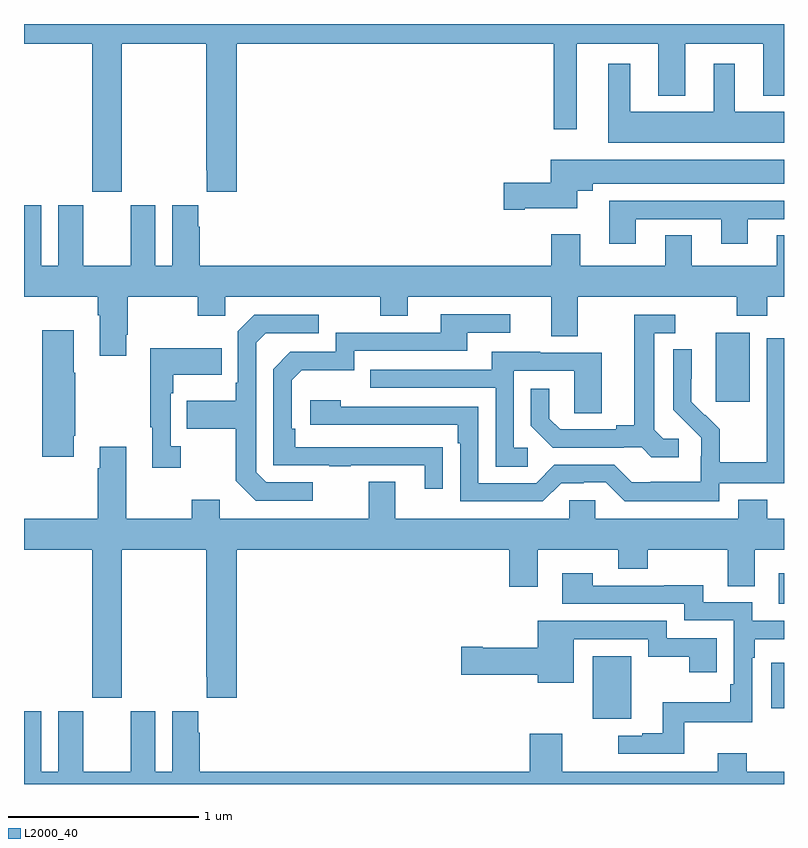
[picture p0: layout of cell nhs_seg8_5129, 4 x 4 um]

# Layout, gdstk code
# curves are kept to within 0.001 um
import gdstk
lib = gdstk.Library(unit=1e-6, precision=1e-09)
def R(c, l, rs):  # rectangles x0, y0, x1, y1
    for r in rs: c.add(gdstk.rectangle(r[:2], r[2:], *l))
def P(c, l, *ps):  # polygons
    for p in ps: c.add(gdstk.Polygon(p, *l))
L2000_40 = (2000, 40)

nhs_seg8_5129 = lib.new_cell('nhs_seg8_5129')
R(nhs_seg8_5129, L2000_40, [(421.994,1150.244,422.197,1150.573), (422.933,1150.299,423,1150.537), (422.973,1150.848,423,1151.008), (422.642,1151.913,422.821,1152.274)])
P(nhs_seg8_5129, L2000_40, [(419.514,1153.796),(419.959,1153.796),(419.959,1153.129),(419.963,1153.129),(419.963,1153.017),(420.119,1153.017),(420.119,1153.796),(421.788,1153.796),(421.788,1153.347),(421.909,1153.347),(421.909,1153.796),(422.339,1153.796),(422.339,1153.523),(422.479,1153.523),(422.479,1153.796),(422.891,1153.796),(422.891,1153.523),(423,1153.523),(423,1153.9),(419,1153.9),(419,1153.796),(419.359,1153.796),(419.359,1153.017),(419.514,1153.017)],
  [(423,1153.438),(422.74,1153.438),(422.74,1153.69),(422.63,1153.69),(422.63,1153.438),(422.191,1153.438),(422.191,1153.69),(422.075,1153.69),(422.075,1153.274),(423,1153.274)],
  [(421.636,1152.929),(421.912,1152.929),(421.912,1153.022),(421.993,1153.022),(421.993,1153.058),(423,1153.058),(423,1153.186),(421.772,1153.186),(421.772,1153.064),(421.524,1153.064),(421.524,1152.922),(421.636,1152.922)],
  [(422.221,1152.873),(422.669,1152.873),(422.669,1152.744),(422.809,1152.744),(422.809,1152.873),(423,1152.873),(423,1152.969),(422.081,1152.969),(422.081,1152.744),(422.221,1152.744)],
  [(419.924,1152.833),(419.917,1152.833),(419.917,1152.946),(419.78,1152.946),(419.78,1152.628),(419.692,1152.628),(419.692,1152.946),(419.561,1152.946),(419.561,1152.628),(419.311,1152.628),(419.311,1152.946),(419.18,1152.946),(419.18,1152.628),(419.092,1152.628),(419.092,1152.946),(419,1152.946),(419,1152.464),(419.387,1152.464),(419.387,1152.368),(419.399,1152.368),(419.399,1152.153),(419.539,1152.153),(419.539,1152.265),(419.547,1152.265),(419.547,1152.464),(419.914,1152.464),(419.914,1152.365),(420.06,1152.365),(420.06,1152.464),(420.874,1152.464),(420.874,1152.365),(421.021,1152.365),(421.021,1152.464),(421.775,1152.464),(421.775,1152.256),(421.915,1152.256),(421.915,1152.464),(422.752,1152.464),(422.752,1152.365),(422.912,1152.365),(422.912,1152.464),(423,1152.464),(423,1152.788),(422.963,1152.788),(422.963,1152.628),(422.515,1152.628),(422.515,1152.788),(422.375,1152.788),(422.375,1152.628),(421.927,1152.628),(421.927,1152.793),(421.775,1152.793),(421.775,1152.628),(419.924,1152.628)],
  [(421.205,1151.672),(420.428,1151.673),(420.428,1151.77),(420.408,1151.77),(420.408,1152.024),(420.461,1152.077),(420.738,1152.077),(420.738,1152.18),(421.333,1152.18),(421.333,1152.276),(421.558,1152.276),(421.558,1152.372),(421.193,1152.372),(421.193,1152.276),(420.642,1152.276),(420.642,1152.174),(420.402,1152.174),(420.312,1152.084),(420.312,1151.577),(420.607,1151.577),(420.607,1151.572),(420.719,1151.572),(420.719,1151.577),(421.109,1151.577),(421.109,1151.454),(421.205,1151.454)],
  [(422.446,1151.718),(422.364,1151.718),(422.317,1151.765),(422.317,1152.273),(422.428,1152.273),(422.428,1152.369),(422.213,1152.369),(422.213,1151.789),(422.117,1151.789),(422.117,1151.766),(421.822,1151.766),(421.765,1151.823),(421.765,1151.98),(421.668,1151.98),(421.668,1151.786),(421.784,1151.67),(422.156,1151.67),(422.156,1151.673),(422.25,1151.673),(422.302,1151.621),(422.446,1151.621)],
  [(420.52,1151.487),(420.276,1151.487),(420.222,1151.541),(420.222,1152.222),(420.273,1152.273),(420.55,1152.273),(420.55,1152.369),(420.213,1152.369),(420.126,1152.282),(420.126,1152.013),(420.114,1152.013),(420.114,1151.917),(419.857,1151.917),(419.857,1151.77),(420.114,1151.77),(420.114,1151.497),(420.219,1151.391),(420.52,1151.391)],
  [(419.263,1151.734),(419.271,1151.734),(419.271,1152.065),(419.263,1152.065),(419.263,1152.289),(419.096,1152.289),(419.096,1151.622),(419.263,1151.622)],
  [(422.658,1151.484),(423,1151.484),(423,1152.246),(422.91,1152.246),(422.91,1151.816),(422.908,1151.816),(422.908,1151.593),(422.663,1151.593),(422.663,1151.767),(422.586,1151.844),(422.583,1151.841),(422.513,1151.912),(422.514,1152.188),(422.418,1152.188),(422.418,1151.87),(422.564,1151.722),(422.564,1151.625),(422.562,1151.625),(422.562,1151.491),(422.299,1151.491),(422.299,1151.487),(422.199,1151.487),(422.106,1151.58),(421.791,1151.58),(421.695,1151.484),(421.392,1151.484),(421.392,1151.886),(420.668,1151.886),(420.668,1151.92),(420.507,1151.92),(420.507,1151.79),(421.283,1151.79),(421.283,1151.693),(421.296,1151.693),(421.296,1151.388),(421.731,1151.388),(421.827,1151.484),(421.946,1151.484),(421.946,1151.487),(422.061,1151.487),(422.161,1151.387),(422.658,1151.387)],
  [(419.824,1151.678),(419.772,1151.678),(419.772,1151.957),(419.785,1151.957),(419.785,1152.053),(420.041,1152.053),(420.041,1152.193),(419.664,1152.193),(419.664,1151.777),(419.675,1151.777),(419.675,1151.565),(419.824,1151.565)],
  [(421.651,1151.67),(421.578,1151.67),(421.578,1152.075),(421.896,1152.075),(421.896,1151.851),(422.041,1151.851),(422.041,1152.171),(421.717,1152.171),(421.717,1152.175),(421.463,1152.175),(421.463,1152.081),(420.823,1152.081),(420.823,1151.985),(421.482,1151.985),(421.482,1151.569),(421.651,1151.569)],
  [(419.884,1151.296),(419.539,1151.296),(419.539,1151.674),(419.399,1151.674),(419.399,1151.561),(419.387,1151.561),(419.387,1151.296),(419,1151.296),(419,1151.132),(419.359,1151.132),(419.359,1150.353),(419.514,1150.353),(419.514,1151.132),(419.959,1151.132),(419.959,1150.465),(419.963,1150.465),(419.963,1150.353),(420.119,1150.353),(420.119,1151.132),(421.553,1151.132),(421.553,1150.938),(421.705,1150.938),(421.705,1151.132),(422.128,1151.132),(422.128,1151.033),(422.283,1151.033),(422.283,1151.132),(422.705,1151.132),(422.705,1150.942),(422.845,1150.942),(422.845,1151.132),(423,1151.132),(423,1151.296),(422.912,1151.296),(422.912,1151.395),(422.759,1151.395),(422.759,1151.296),(422.007,1151.296),(422.007,1151.394),(421.869,1151.394),(421.869,1151.296),(420.955,1151.296),(420.955,1151.491),(420.815,1151.491),(420.815,1151.296),(420.031,1151.296),(420.031,1151.395),(419.884,1151.395)],
  [(422.476,1150.226),(422.832,1150.226),(422.832,1150.565),(422.845,1150.565),(422.845,1150.662),(423,1150.662),(423,1150.758),(422.833,1150.758),(422.833,1150.857),(422.575,1150.857),(422.575,1150.946),(422.371,1150.946),(422.371,1150.944),(421.994,1150.944),(421.994,1151.008),(421.833,1151.008),(421.833,1150.848),(422.474,1150.848),(422.474,1150.761),(422.736,1150.761),(422.736,1150.426),(422.716,1150.426),(422.716,1150.33),(422.363,1150.33),(422.363,1150.168),(422.253,1150.168),(422.253,1150.155),(422.127,1150.155),(422.127,1150.059),(422.476,1150.059)],
  [(421.894,1150.662),(422.286,1150.662),(422.286,1150.57),(422.5,1150.57),(422.5,1150.488),(422.647,1150.488),(422.647,1150.668),(422.382,1150.668),(422.382,1150.758),(421.703,1150.758),(421.703,1150.617),(421.414,1150.617),(421.414,1150.622),(421.302,1150.622),(421.302,1150.475),(421.703,1150.475),(421.703,1150.433),(421.894,1150.433)],
  [(423,1149.964),(422.804,1149.964),(422.804,1150.063),(422.651,1150.063),(422.651,1149.964),(421.833,1149.964),(421.833,1150.165),(421.661,1150.165),(421.661,1149.964),(419.924,1149.964),(419.924,1150.169),(419.917,1150.169),(419.917,1150.282),(419.78,1150.282),(419.78,1149.964),(419.692,1149.964),(419.692,1150.282),(419.561,1150.282),(419.561,1149.964),(419.311,1149.964),(419.311,1150.282),(419.18,1150.282),(419.18,1149.964),(419.092,1149.964),(419.092,1150.282),(419,1150.282),(419,1149.9),(423,1149.9)])

lib.write_gds('nhs_seg8_5129.gds')
